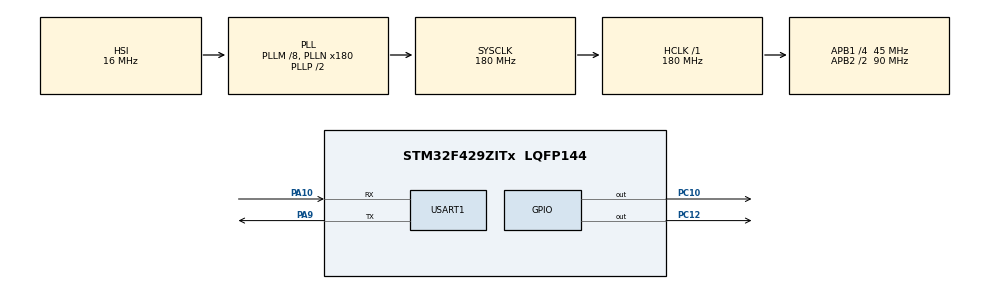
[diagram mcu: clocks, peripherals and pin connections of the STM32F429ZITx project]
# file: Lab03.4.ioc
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Mcu.Family=STM32F4
Mcu.Name=STM32F429ZITx
Mcu.Package=LQFP144
NVIC.PriorityGroup=NVIC_PRIORITYGROUP_4
PA10.Mode=Asynchronous
PA10.Signal=USART1_RX
PA9.Mode=Asynchronous
PA9.Signal=USART1_TX
PC10.PinState=GPIO_PIN_SET
PC10.Signal=GPIO_Output
PC12.PinState=GPIO_PIN_SET
PC12.Signal=GPIO_Output
ProjectManager.HeapSize=0x200
ProjectManager.StackSize=0x400
ProjectManager.TargetToolchain=STM32CubeIDE
RCC.48MHZClocksFreq_Value=90000000
RCC.AHBFreq_Value=180000000
RCC.APB1CLKDivider=RCC_HCLK_DIV4
RCC.APB1Freq_Value=45000000
RCC.APB1TimFreq_Value=90000000
RCC.APB2CLKDivider=RCC_HCLK_DIV2
RCC.APB2Freq_Value=90000000
RCC.APB2TimFreq_Value=180000000
RCC.CortexFreq_Value=180000000
RCC.HCLKFreq_Value=180000000
RCC.HSE_VALUE=25000000
RCC.HSI_VALUE=16000000
RCC.LSE_VALUE=32768
RCC.PLLM=8
RCC.PLLN=180
RCC.SYSCLKFreq_VALUE=180000000
RCC.SYSCLKSource=RCC_SYSCLKSOURCE_PLLCLK
RCC.VCOOutputFreq_Value=360000000
USART1.VirtualMode=VM_ASYNC
board=custom

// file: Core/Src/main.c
/* USER CODE BEGIN Header */
/**
  ******************************************************************************
  * @file           : main.c
  * @brief          : Main program body
  ******************************************************************************
  * @attention
  *
  * <h2><center>&copy; Copyright (c) 2021 STMicroelectronics.
  * All rights reserved.</center></h2>
  *
  * This software component is licensed by ST under BSD 3-Clause license,
  * the "License"; You may not use this file except in compliance with the
  * License. You may obtain a copy of the License at:
  *                        opensource.org/licenses/BSD-3-Clause
  *
  ******************************************************************************
  */
/* USER CODE END Header */
#include "main.h"
#include "usart.h"
#include "gpio.h"

/* USER CODE BEGIN PV */
char inputChar = ' ';
/* USER CODE END PV */

void SystemClock_Config(void);

int main(void)
{

  /* MCU Configuration--------------------------------------------------------*/

  /* Reset of all peripherals, Initializes the Flash interface and the Systick. */
  HAL_Init();

  /* Configure the system clock */
  SystemClock_Config();

  /* Initialize all configured peripherals */
  MX_GPIO_Init();
  MX_USART1_UART_Init();
  /* USER CODE BEGIN 2 */
  while(__HAL_UART_GET_FLAG(&huart1,UART_FLAG_TC)==RESET){}
  HAL_UART_Transmit(&huart1, (uint8_t*)"Display Blinking LED PRESS (1, 2)\r\nDisplay Group Members PRESS m\r\nQuit PRESS q\r\n\tInput => ", strlen("Display Blinking LED PRESS (1, 2)\r\nDisplay Group Members PRESS m\r\nQuit PRESS q\r\n\tInput => "), 1000);
  /* USER CODE END 2 */

  /* Infinite loop */
  while (1)
  {

    /* USER CODE BEGIN 3 */
	  while(__HAL_UART_GET_FLAG(&huart1,UART_FLAG_RXNE)==RESET){}
	  HAL_UART_Receive(&huart1, (uint8_t*)&inputChar, 1, 1000);
	  HAL_UART_Transmit(&huart1, (uint8_t*)&inputChar, 1, 1000);

	  if(inputChar =='1'){
		  for(int num = 0;num<3;num++){
			  HAL_GPIO_WritePin(GPIOC,GPIO_PIN_10,0);
			  HAL_Delay(300);
			  HAL_GPIO_WritePin(GPIOC,GPIO_PIN_10,1);
			  HAL_Delay(300);
		  }
	  }
	  else if(inputChar =='2'){
		  for(int num = 0;num<3;num++){
			  HAL_GPIO_WritePin(GPIOC,GPIO_PIN_12,0);
			  HAL_Delay(300);
			  HAL_GPIO_WritePin(GPIOC,GPIO_PIN_12,1);
			  HAL_Delay(300);
		  }
	  }
	  else if(inputChar =='m'){
		  HAL_UART_Transmit(&huart1, (uint8_t*)"\r\n62010694\r\nPakorn Thanaprachanon",strlen("\r\n62010694\r\nPakorn Thanaprachanon"), 1000);
	  }
	  else if(inputChar =='q'){
		  HAL_UART_Transmit(&huart1, (uint8_t*)"\r\nQuit",strlen("\r\nQuit"), 1000);
		  break;
	  }
	  else {
		  HAL_UART_Transmit(&huart1, (uint8_t*)"\r\nUnknown Command",strlen("\r\nUnknown Command"), 1000);
	  }
	  HAL_UART_Transmit(&huart1, (uint8_t*)"\r\n\tInput => ", strlen("\r\n\tInput => "), 1000);
  }
  /* USER CODE END 3 */
}

void SystemClock_Config(void)
{
  RCC_OscInitTypeDef RCC_OscInitStruct = {0};
  RCC_ClkInitTypeDef RCC_ClkInitStruct = {0};

  /** Configure the main internal regulator output voltage
  */
  __HAL_RCC_PWR_CLK_ENABLE();
  __HAL_PWR_VOLTAGESCALING_CONFIG(PWR_REGULATOR_VOLTAGE_SCALE1);
  /** Initializes the RCC Oscillators according to the specified parameters
  * in the RCC_OscInitTypeDef structure.
  */
  RCC_OscInitStruct.OscillatorType = RCC_OSCILLATORTYPE_HSI;
  RCC_OscInitStruct.HSIState = RCC_HSI_ON;
  RCC_OscInitStruct.HSICalibrationValue = RCC_HSICALIBRATION_DEFAULT;
  RCC_OscInitStruct.PLL.PLLState = RCC_PLL_ON;
  RCC_OscInitStruct.PLL.PLLSource = RCC_PLLSOURCE_HSI;
  RCC_OscInitStruct.PLL.PLLM = 8;
  RCC_OscInitStruct.PLL.PLLN = 180;
  RCC_OscInitStruct.PLL.PLLP = RCC_PLLP_DIV2;
  RCC_OscInitStruct.PLL.PLLQ = 4;
  if (HAL_RCC_OscConfig(&RCC_OscInitStruct) != HAL_OK)
  {
    Error_Handler();
  }
  /** Activate the Over-Drive mode
  */
  if (HAL_PWREx_EnableOverDrive() != HAL_OK)
  {
    Error_Handler();
  }
  /** Initializes the CPU, AHB and APB buses clocks
  */
  RCC_ClkInitStruct.ClockType = RCC_CLOCKTYPE_HCLK|RCC_CLOCKTYPE_SYSCLK
                              |RCC_CLOCKTYPE_PCLK1|RCC_CLOCKTYPE_PCLK2;
  RCC_ClkInitStruct.SYSCLKSource = RCC_SYSCLKSOURCE_PLLCLK;
  RCC_ClkInitStruct.AHBCLKDivider = RCC_SYSCLK_DIV1;
  RCC_ClkInitStruct.APB1CLKDivider = RCC_HCLK_DIV4;
  RCC_ClkInitStruct.APB2CLKDivider = RCC_HCLK_DIV2;

  if (HAL_RCC_ClockConfig(&RCC_ClkInitStruct, FLASH_LATENCY_5) != HAL_OK)
  {
    Error_Handler();
  }
}

void Error_Handler(void)
{
  __disable_irq();
  while (1)
  {
  }
}

/************************ (C) COPYRIGHT STMicroelectronics *****END OF FILE****/
